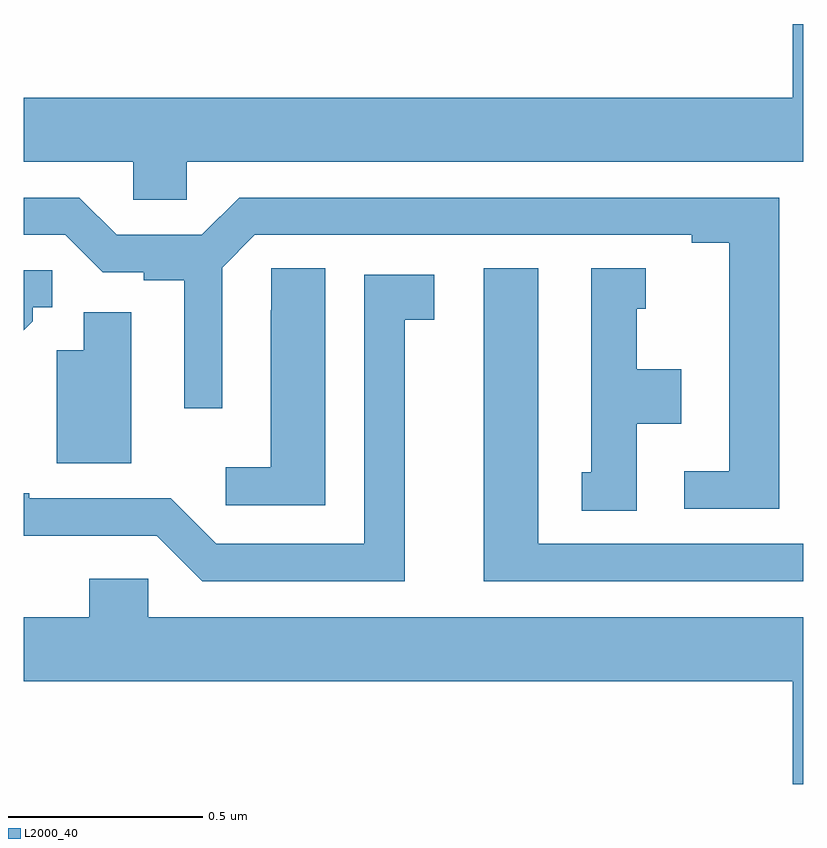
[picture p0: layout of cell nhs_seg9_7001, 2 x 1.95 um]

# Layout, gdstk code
import gdstk
lib = gdstk.Library(unit=1e-6, precision=1e-09)
def P(c, l, *ps):  # polygons
    for p in ps: c.add(gdstk.Polygon(p, *l))
L2000_40 = (2000, 40)

nhs_seg9_7001 = lib.new_cell('nhs_seg9_7001')
P(nhs_seg9_7001, L2000_40, [(199.419,1187.096),(201,1187.096),(201,1187.449),(200.972,1187.449),(200.972,1187.26),(199,1187.26),(199,1187.096),(199.281,1187.096),(199.281,1186.998),(199.419,1186.998)],
  [(200.938,1187.004),(199.553,1187.004),(199.457,1186.908),(199.239,1186.908),(199.143,1187.004),(199,1187.004),(199,1186.908),(199.107,1186.908),(199.203,1186.812),(199.308,1186.812),(199.308,1186.792),(199.412,1186.792),(199.412,1186.464),(199.509,1186.464),(199.509,1186.824),(199.593,1186.908),(200.714,1186.908),(200.714,1186.888),(200.81,1186.888),(200.81,1186.302),(200.694,1186.302),(200.694,1186.206),(200.938,1186.206)],
  [(199.774,1186.823),(199.635,1186.823),(199.635,1186.715),(199.634,1186.715),(199.634,1186.312),(199.518,1186.312),(199.518,1186.215),(199.774,1186.215)],
  [(200.572,1186.424),(200.686,1186.424),(200.686,1186.564),(200.572,1186.564),(200.572,1186.719),(200.596,1186.719),(200.596,1186.822),(200.456,1186.822),(200.456,1186.299),(200.432,1186.299),(200.432,1186.201),(200.572,1186.201)],
  [(201,1186.116),(200.32,1186.116),(200.32,1186.822),(200.18,1186.822),(200.18,1186.02),(201,1186.02)],
  [(199.024,1186.687),(199.024,1186.722),(199.074,1186.722),(199.074,1186.818),(199,1186.818),(199,1186.663)],
  [(199.978,1186.69),(200.053,1186.69),(200.053,1186.806),(199.874,1186.806),(199.874,1186.116),(199.494,1186.116),(199.377,1186.233),(199.015,1186.233),(199.015,1186.246),(199,1186.246),(199,1186.136),(199.085,1186.136),(199.085,1186.137),(199.341,1186.137),(199.458,1186.02),(199.978,1186.02)],
  [(199.276,1186.71),(199.154,1186.71),(199.154,1186.612),(199.085,1186.612),(199.085,1186.322),(199.276,1186.322)],
  [(201,1185.928),(199.32,1185.928),(199.32,1186.026),(199.169,1186.026),(199.169,1185.928),(199,1185.928),(199,1185.764),(200.972,1185.764),(200.972,1185.5),(201,1185.5)])

lib.write_gds('nhs_seg9_7001.gds')
